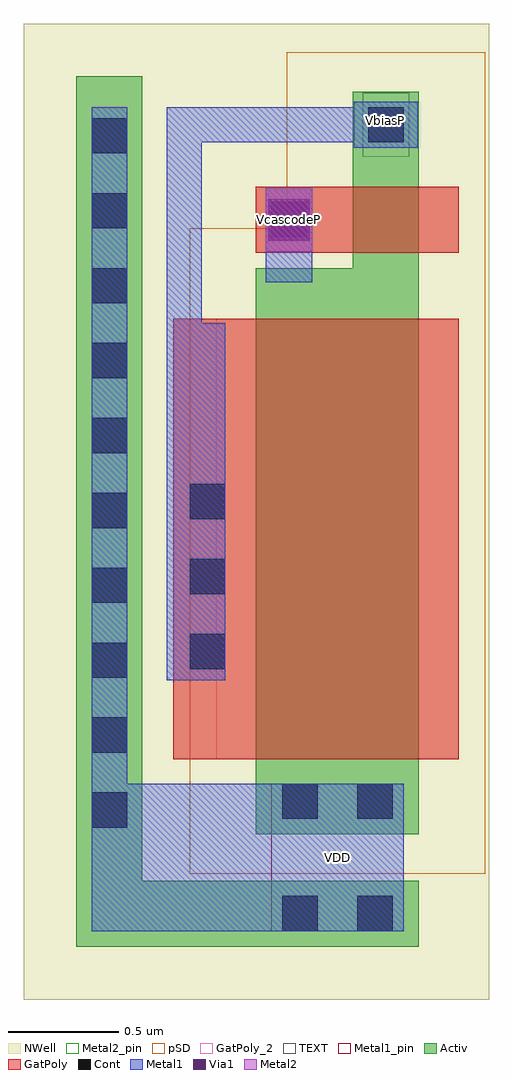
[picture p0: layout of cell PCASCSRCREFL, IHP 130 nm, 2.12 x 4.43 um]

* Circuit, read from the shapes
.subckt PCASCSRCREFL VDD VbiasP VcascodeP
XM1 n1 VbiasP VDD VDD sg13_lv_pmos w=0.74u l=2u
XM2 VbiasP VcascodeP n1 VDD sg13_lv_pmos w=0.3u l=0.3u
.ends

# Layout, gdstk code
import gdstk
lib = gdstk.Library(unit=1e-6, precision=1e-09)
def R(c, l, rs):  # rectangles x0, y0, x1, y1
    for r in rs: c.add(gdstk.rectangle(r[:2], r[2:], *l))
def A(c, l, x, y, w, h, nx, ny, dx, dy):  # array of equal rectangles
    R(c, l, [(x+i*dx, y+j*dy, x+i*dx+w, y+j*dy+h) for i in range(nx) for j in range(ny)])
Activ = (1, 0)
GatPoly = (5, 0)
GatPoly_2 = (5, 2)
Cont = (6, 0)
Metal1 = (8, 0)
Metal1_pin = (8, 2)
Metal2 = (10, 0)
Metal2_pin = (10, 2)
pSD = (14, 0)
Via1 = (19, 0)
NWell = (31, 0)
TEXT = (63, 0)

switched_pmos_cascode = lib.new_cell('switched_pmos_cascode')
R(switched_pmos_cascode, Activ, [(0.29,-0.38,0.59,0.58)])
R(switched_pmos_cascode, GatPoly, [(-0.15,-0.15,0.77,0.15)])
R(switched_pmos_cascode, Cont, [(-0.08,-0.08,0.08,0.08), (0.36,0.35,0.52,0.51)])
R(switched_pmos_cascode, Metal1, [(-0.105,-0.285,0.105,0.145), (0.295,0.325,0.585,0.535)])
R(switched_pmos_cascode, Metal2, [(-0.105,-0.145,0.105,0.145)])
R(switched_pmos_cascode, pSD, [(-0.01,-0.56,0.89,0.76)])
R(switched_pmos_cascode, Via1, [(-0.095,-0.095,0.095,0.095)])
R(switched_pmos_cascode, NWell, [(-0.03,-0.79,0.91,0.89)])
R(switched_pmos_cascode, TEXT, [(0.335,0.285,0.545,0.575), (0.345,0.335,0.535,0.525)])

pcascsrc = lib.new_cell('PCASCSRC')
R(pcascsrc, Activ, [(-0.15,-3.3,0.59,-3), (-0.15,-2.79,0.59,-0.22)])
R(pcascsrc, GatPoly, [(-0.33,-2.45,0.77,-0.45)])
R(pcascsrc, GatPoly_2, [(-0.33,-2.45,0.77,-0.45)])
R(pcascsrc, Cont, [(-0.03,-3.23,0.13,-3.07), (0.31,-3.23,0.47,-3.07), (-0.03,-2.72,0.13,-2.56), (0.31,-2.72,0.47,-2.56)])
R(pcascsrc, Metal1, [(-0.08,-3.23,0.52,-2.56)])
R(pcascsrc, Metal1_pin, [(-0.08,-3.23,0.52,-2.56), (0.295,0.325,0.585,0.535)])
R(pcascsrc, Metal2_pin, [(-0.105,-0.145,0.105,0.145)])
R(pcascsrc, pSD, [(-0.45,-2.97,0.89,-0.04)])
R(pcascsrc, NWell, [(-0.46,-3.54,0.9,0.09)])
pcascsrc.add(gdstk.Reference(switched_pmos_cascode, (0,0)))
pcascsrc.add(gdstk.Label('Iout', (0.44,0.43), layer=8, texttype=2))
pcascsrc.add(gdstk.Label('VDD', (0.22,-2.895), layer=8, texttype=2))
pcascsrc.add(gdstk.Label('VbiasP', (0.22,-1.45), layer=5, texttype=2))
pcascsrc.add(gdstk.Label('VcascodeP', (0,0), layer=10, texttype=2))

pcascsrcrefl = lib.new_cell('PCASCSRCREFL')
R(pcascsrcrefl, GatPoly, [(-0.525,-2.45,-0.15,-0.45)])
A(pcascsrcrefl, Cont, -0.895, -2.76, 0.16, 0.16, 1, 10, 0, 0.34)
A(pcascsrcrefl, Cont, -0.45, -2.04, 0.16, 0.16, 1, 3, 0, 0.34)
R(pcascsrcrefl, Cont, [(-0.03,-2.72,0.13,-2.56), (0.31,-2.72,0.47,-2.56)])
R(pcascsrcrefl, Metal1, [(-0.895,-3.23,0.52,-2.56), (-0.45,-2.09,-0.29,-0.47)])
R(pcascsrcrefl, Metal1_pin, [(-0.08,-3.23,0.52,-2.56), (0.295,0.325,0.585,0.535)])
R(pcascsrcrefl, Metal2_pin, [(-0.105,-0.145,0.105,0.145)])
R(pcascsrcrefl, NWell, [(-1.205,-3.54,0.91,0.89)])
pcascsrcrefl.add(gdstk.FlexPath([(0.36,0.43),(-0.475,0.43),(-0.475,-2.09)], 0.16, ends="flush", simple_path=True, layer=8, datatype=0))  # Metal1
pcascsrcrefl.add(gdstk.FlexPath([(-0.03,-3.15),(-0.815,-3.15),(-0.815,0.51)], 0.16, ends="flush", simple_path=True, layer=8, datatype=0))  # Metal1
pcascsrcrefl.add(gdstk.FlexPath([(-0.09,-3.15),(-0.815,-3.15),(-0.815,0.65)], 0.3, ends="flush", simple_path=True, layer=1, datatype=0))  # Activ
pcascsrcrefl.add(gdstk.Reference(pcascsrc, (0,0)))
pcascsrcrefl.add(gdstk.Label('VDD', (0.22,-2.895), layer=8, texttype=2))
pcascsrcrefl.add(gdstk.Label('VbiasP', (0.44,0.45), layer=8, texttype=2))
pcascsrcrefl.add(gdstk.Label('VcascodeP', (0,0), layer=10, texttype=2))

lib.write_gds('PCASCSRCREFL.gds')
